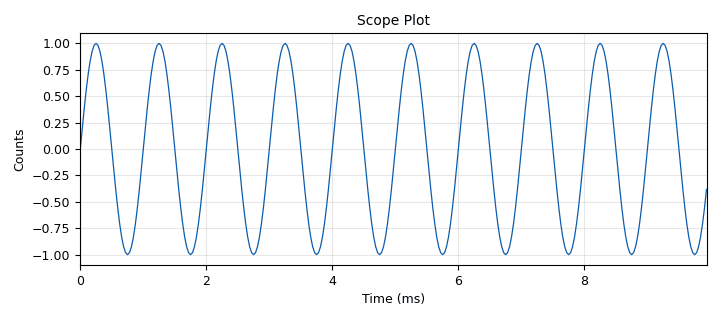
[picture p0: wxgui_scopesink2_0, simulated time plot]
<?xml version='1.0' encoding='utf-8'?>
<flow_graph>
<block>
<key>options</key>
<param><key>id</key><value>top_block</value></param>
<param><key>generate_options</key><value>wx_gui</value></param>
<param><key>category</key><value>Custom</value></param>
</block>
<block>
<key>variable</key>
<param><key>id</key><value>samp_rate</value></param>
<param><key>value</key><value>32000</value></param>
</block>
<block>
<key>blocks_throttle</key>
<param><key>id</key><value>gr_throttle_0</value></param>
<param><key>type</key><value>byte</value></param>
<param><key>samples_per_second</key><value>samp_rate</value></param>
</block>
<block>
<key>analog_random_source_x</key>
<param><key>id</key><value>random_source_x_0</value></param>
<param><key>type</key><value>byte</value></param>
<param><key>min</key><value>0</value></param>
<param><key>max</key><value>255</value></param>
<param><key>num_samps</key><value>1000</value></param>
<param><key>repeat</key><value>True</value></param>
</block>
<block>
<key>import</key>
<param><key>id</key><value>import_0</value></param>
<param><key>import</key><value>import baz</value></param>
</block>
<block>
<key>blocks_throttle</key>
<param><key>id</key><value>gr_throttle_1</value></param>
<param><key>_enabled</key><value>False</value></param>
<param><key>type</key><value>float</value></param>
<param><key>samples_per_second</key><value>samp_rate</value></param>
</block>
<block>
<key>any_sink</key>
<param><key>id</key><value>any_sink_0</value></param>
<param><key>block_desc</key><value></value></param>
<param><key>block_maker</key><value>baz.print_char(0.1)</value></param>
<param><key>num_inputs</key><value>2</value></param>
</block>
<block>
<key>wxgui_scopesink2</key>
<param><key>id</key><value>wxgui_scopesink2_0</value></param>
<param><key>type</key><value>float</value></param>
<param><key>title</key><value>Scope Plot</value></param>
<param><key>samp_rate</key><value>samp_rate</value></param>
<param><key>v_scale</key><value>0</value></param>
<param><key>v_offset</key><value>0</value></param>
<param><key>t_scale</key><value>0</value></param>
<param><key>ac_couple</key><value>False</value></param>
<param><key>xy_mode</key><value>False</value></param>
<param><key>num_inputs</key><value>1</value></param>
<param><key>trig_mode</key><value>wxgui.TRIG_MODE_AUTO</value></param>
<param><key>y_axis_label</key><value>Counts</value></param>
</block>
<block>
<key>analog_sig_source_x</key>
<param><key>id</key><value>gr_sig_source_x_0</value></param>
<param><key>type</key><value>float</value></param>
<param><key>samp_rate</key><value>samp_rate</value></param>
<param><key>waveform</key><value>analog.GR_COS_WAVE</value></param>
<param><key>freq</key><value>1000</value></param>
<param><key>amp</key><value>1</value></param>
<param><key>offset</key><value>0</value></param>
</block>
<connection><source_block_id>random_source_x_0</source_block_id><sink_block_id>gr_throttle_0</sink_block_id><source_key>0</source_key><sink_key>0</sink_key></connection>
<connection><source_block_id>gr_sig_source_x_0</source_block_id><sink_block_id>gr_throttle_1</sink_block_id><source_key>0</source_key><sink_key>0</sink_key></connection>
<connection><source_block_id>gr_throttle_1</source_block_id><sink_block_id>wxgui_scopesink2_0</sink_block_id><source_key>0</source_key><sink_key>0</sink_key></connection>
<connection><source_block_id>gr_throttle_0</source_block_id><sink_block_id>any_sink_0</sink_block_id><source_key>0</source_key><sink_key>0</sink_key></connection>
<connection><source_block_id>gr_throttle_1</source_block_id><sink_block_id>any_sink_0</sink_block_id><source_key>0</source_key><sink_key>1</sink_key></connection>
<connection><source_block_id>gr_sig_source_x_0</source_block_id><sink_block_id>any_sink_0</sink_block_id><source_key>0</source_key><sink_key>1</sink_key></connection>
<connection><source_block_id>gr_sig_source_x_0</source_block_id><sink_block_id>wxgui_scopesink2_0</sink_block_id><source_key>0</source_key><sink_key>0</sink_key></connection>
</flow_graph>
